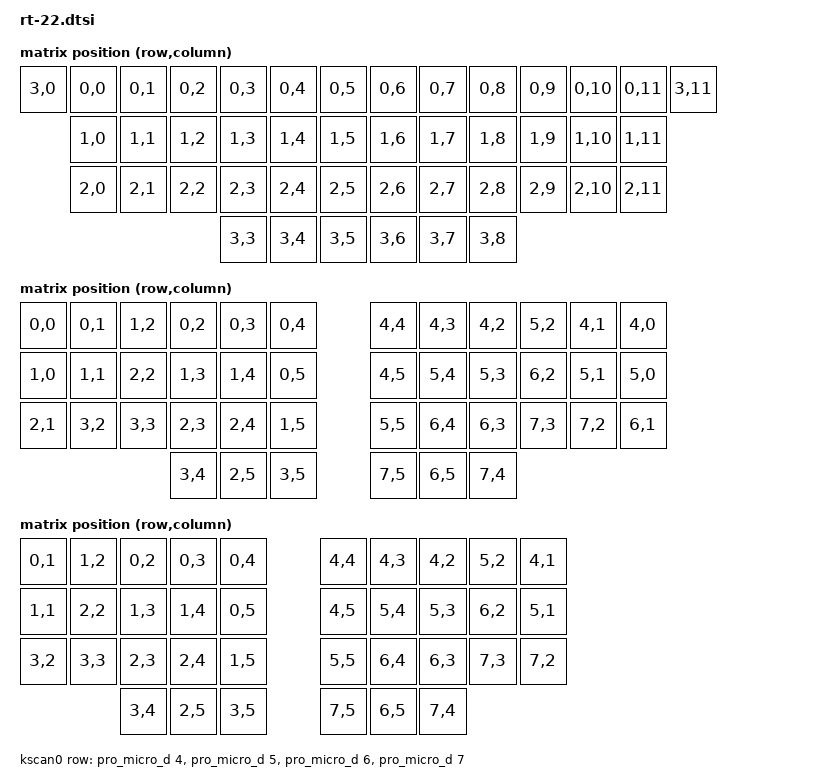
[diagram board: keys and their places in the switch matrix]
/*
 * Copyright (c) 2021 The ZMK Contributors
 *
 * SPDX-License-Identifier: MIT
 */

#include <dt-bindings/zmk/matrix_transform.h>

/ {
	chosen {
		zmk,kscan = &kscan0;
		zmk,matrix_transform = &default_transform;
	};

	default_transform: keymap_transform_0 {
		compatible = "zmk,matrix-transform";
		columns = <12>;
		rows = <4>;
// | SW0  | SW1  | SW2  | SW3  | SW4  | SW5  | SW6  |   | SW6  | SW5  | SW4  | SW3  | SW2  | SW1  | SW0  |
// |      | SW7  | SW8  | SW9  | SW10 | SW11 | SW12 |   | SW12 | SW11 | SW10 | SW9  | SW8  | SW7  |
// |      | SW13 | SW14 | SW15 | SW16 | SW17 | SW18 |   | SW18 | SW17 | SW16 | SW15 | SW14 | SW13 |
//                             | SW19 | SW20 | SW21 |   | SW21 | SW20 | SW19 |
		map = <
    RC(3,0) RC(0,0) RC(0,1) RC(0,2) RC(0,3) RC(0,4) RC(0,5)  RC(0,6) RC(0,7) RC(0,8) RC(0,9) RC(0,10) RC(0,11) RC(3,11)
            RC(1,0) RC(1,1) RC(1,2) RC(1,3) RC(1,4) RC(1,5)  RC(1,6) RC(1,7) RC(1,8) RC(1,9) RC(1,10) RC(1,11)
            RC(2,0) RC(2,1) RC(2,2) RC(2,3) RC(2,4) RC(2,5)  RC(2,6) RC(2,7) RC(2,8) RC(2,9) RC(2,10) RC(2,11)
                                    RC(3,3) RC(3,4) RC(3,5)  RC(3,6) RC(3,7) RC(3,8)
		>;
	};

		crkbd_transform: keymap_transform_1 {
		compatible = "zmk,matrix-transform";
		columns = <12>;
		rows = <4>;
// | SW1  | SW2  | SW3  | SW4  | SW5  | SW6  |   | SW6  | SW5  | SW4  | SW3  | SW2  | SW1  |
// | SW7  | SW8  | SW9  | SW10 | SW11 | SW12 |   | SW12 | SW11 | SW10 | SW9  | SW8  | SW7  |
// | SW13 | SW14 | SW15 | SW16 | SW17 | SW18 |   | SW18 | SW17 | SW16 | SW15 | SW14 | SW13 |
//                      | SW19 | SW20 | SW21 |   | SW21 | SW20 | SW19 |
		map = <
    RC(0,0) RC(0,1) RC(1,2) RC(0,2) RC(0,3) RC(0,4)  RC(4,4) RC(4,3) RC(4,2) RC(5,2) RC(4,1) RC(4,0)
    RC(1,0) RC(1,1) RC(2,2) RC(1,3) RC(1,4) RC(0,5)  RC(4,5) RC(5,4) RC(5,3) RC(6,2) RC(5,1) RC(5,0)
    RC(2,1) RC(3,2) RC(3,3) RC(2,3) RC(2,4) RC(1,5)  RC(5,5) RC(6,4) RC(6,3) RC(7,3) RC(7,2) RC(6,1)
                            RC(3,4) RC(2,5) RC(3,5)  RC(7,5) RC(6,5) RC(7,4)
		>;
	};

	five_column_transform: keymap_transform_2 {
		compatible = "zmk,matrix-transform";
		columns = <10>;
		rows = <4>;
// | SW2  | SW3  | SW4  | SW5  | SW6  |   | SW6  | SW5  | SW4  | SW3  | SW2  |
// | SW8  | SW9  | SW10 | SW11 | SW12 |   | SW12 | SW11 | SW10 | SW9  | SW8  |
// | SW14 | SW15 | SW16 | SW17 | SW18 |   | SW18 | SW17 | SW16 | SW15 | SW14 |
//                      | SW19 | SW20 | SW21 |   | SW21 | SW20 | SW19 |
		map = <
    RC(0,1) RC(1,2) RC(0,2) RC(0,3) RC(0,4)  RC(4,4) RC(4,3) RC(4,2) RC(5,2) RC(4,1)
    RC(1,1) RC(2,2) RC(1,3) RC(1,4) RC(0,5)  RC(4,5) RC(5,4) RC(5,3) RC(6,2) RC(5,1)
    RC(3,2) RC(3,3) RC(2,3) RC(2,4) RC(1,5)  RC(5,5) RC(6,4) RC(6,3) RC(7,3) RC(7,2)
                    RC(3,4) RC(2,5) RC(3,5)  RC(7,5) RC(6,5) RC(7,4)
		>;
	};

	kscan0: kscan {
		compatible = "zmk,kscan-gpio-matrix";
		label = "KSCAN";

		diode-direction = "col2row";
		row-gpios
			= <&pro_micro_d  4 (GPIO_ACTIVE_HIGH | GPIO_PULL_DOWN)>
			, <&pro_micro_d  5 (GPIO_ACTIVE_HIGH | GPIO_PULL_DOWN)>
			, <&pro_micro_d  6 (GPIO_ACTIVE_HIGH | GPIO_PULL_DOWN)>
			, <&pro_micro_d  7 (GPIO_ACTIVE_HIGH | GPIO_PULL_DOWN)>
			;
		
	};
};
